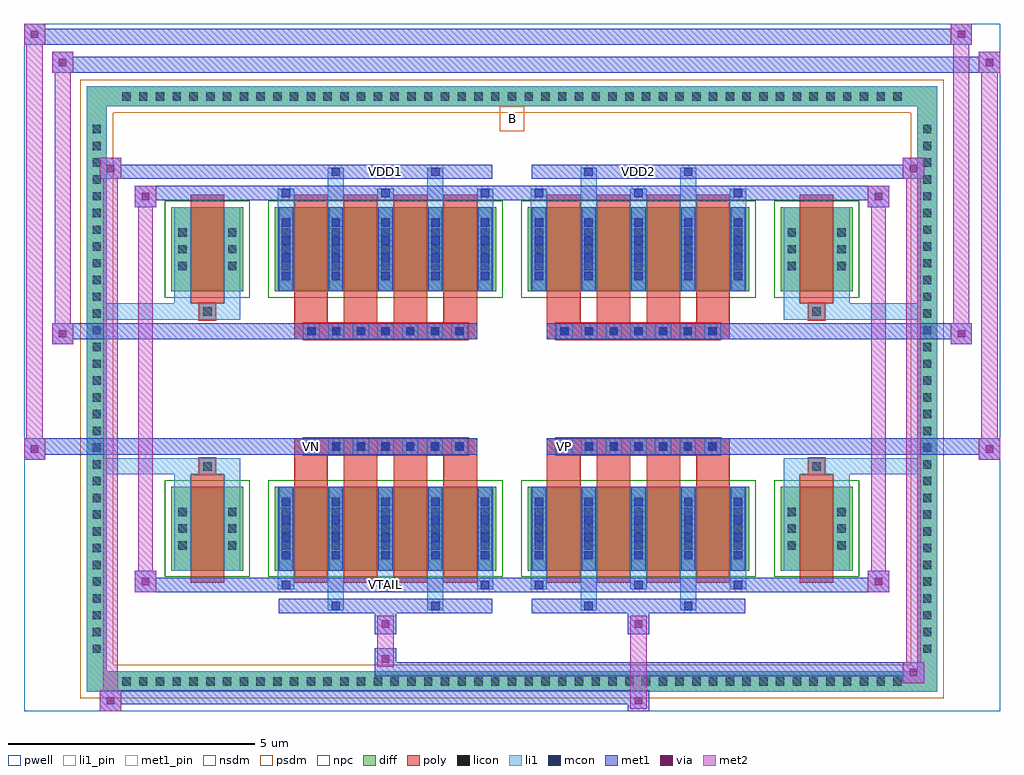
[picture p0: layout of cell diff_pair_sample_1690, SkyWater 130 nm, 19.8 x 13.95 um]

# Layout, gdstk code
import gdstk
lib = gdstk.Library(unit=1e-6, precision=5e-09)
def R(c, l, rs):  # rectangles x0, y0, x1, y1
    for r in rs: c.add(gdstk.rectangle(r[:2], r[2:], *l))
def A(c, l, x, y, w, h, nx, ny, dx, dy):  # array of equal rectangles
    R(c, l, [(x+i*dx, y+j*dy, x+i*dx+w, y+j*dy+h) for i in range(nx) for j in range(ny)])
def P(c, l, *ps):  # polygons
    for p in ps: c.add(gdstk.Polygon(p, *l))
pwell = (64, 44)
diff = (65, 20)
poly = (66, 20)
licon = (66, 44)
li1_pin = (67, 16)
li1 = (67, 20)
mcon = (67, 44)
met1_pin = (68, 16)
met1 = (68, 20)
via = (68, 44)
met2 = (69, 20)
nsdm = (93, 44)
psdm = (94, 20)
npc = (95, 20)

diff_pair_sample_1690 = lib.new_cell('diff_pair_sample_1690')
R(diff_pair_sample_1690, pwell, [(-9.9,-6.54,9.9,7.41), (-7.22,-4.73,-0.01,-0.805), (0.01,-4.73,7.22,-0.805), (-7.22,0.805,-0.01,4.73), (0.01,0.805,7.22,4.73)])
A(diff_pair_sample_1690, diff, -8.025, -6.14, 0.41, 0.41, 47, 2, 0.34, 11.87)
A(diff_pair_sample_1690, diff, -8.63, -5.475, 0.41, 0.41, 1, 32, 0, 0.34)
A(diff_pair_sample_1690, diff, 8.22, -5.475, 0.41, 0.41, 1, 32, 0, 0.34)
R(diff_pair_sample_1690, diff, [(-8.025,-6.14,8.025,-5.73), (-8.63,-5.475,-8.22,5.475), (8.22,-5.475,8.63,5.475), (-6.91,-3.685,-5.45,-1.985), (-4.81,-3.685,-0.32,-1.985), (0.32,-3.685,4.81,-1.985), (5.45,-3.685,6.91,-1.985), (-6.91,1.985,-5.45,3.685), (-4.81,1.985,-0.32,3.685), (0.32,1.985,4.81,3.685), (5.45,1.985,6.91,3.685), (-8.025,5.73,8.025,6.14)])
P(diff_pair_sample_1690, diff, [(8.63,6.14),(-8.63,6.14),(-8.63,-5.73),(-8.22,-5.73),(-8.22,5.73),(8.22,5.73),(8.22,-5.73),(-8.22,-5.73),(-8.63,-5.73),(-8.63,-6.14),(8.63,-6.14)])
A(diff_pair_sample_1690, poly, -4.42, -3.935, 0.68, 2.2, 4, 2, 1.01, 5.67)
A(diff_pair_sample_1690, poly, 0.71, -3.935, 0.68, 2.2, 4, 2, 1.01, 5.67)
A(diff_pair_sample_1690, poly, -4.42, -1.735, 0.68, 0.4, 4, 2, 1.01, 3.07)
A(diff_pair_sample_1690, poly, 0.71, -1.735, 0.68, 0.4, 4, 2, 1.01, 3.07)
A(diff_pair_sample_1690, poly, -4.23, -1.335, 0.33, 0.33, 7, 2, 0.5, 2.34)
A(diff_pair_sample_1690, poly, 0.9, -1.335, 0.33, 0.33, 7, 2, 0.5, 2.34)
R(diff_pair_sample_1690, poly, [(-6.52,-3.935,-5.84,-1.735), (5.84,-3.935,6.52,-1.735), (-6.345,-1.735,-6.015,-1.405), (-6.345,-1.735,-6.015,-1.405), (6.015,-1.735,6.345,-1.405), (6.015,-1.735,6.345,-1.405), (-4.42,-1.335,-0.71,-1.005), (0.71,-1.335,4.42,-1.005), (-4.42,1.005,-0.71,1.335), (0.71,1.005,4.42,1.335), (-6.345,1.405,-6.015,1.735), (-6.345,1.405,-6.015,1.735), (6.015,1.405,6.345,1.735), (6.015,1.405,6.345,1.735), (-6.52,1.735,-5.84,3.935), (5.84,1.735,6.52,3.935)])
A(diff_pair_sample_1690, licon, -7.905, -6.02, 0.17, 0.17, 47, 2, 0.34, 11.87)
A(diff_pair_sample_1690, licon, -8.51, -5.355, 0.17, 0.17, 1, 32, 0, 0.34)
A(diff_pair_sample_1690, licon, 8.34, -5.355, 0.17, 0.17, 1, 32, 0, 0.34)
A(diff_pair_sample_1690, licon, -6.77, -3.26, 0.17, 0.17, 1, 3, 0, 0.34)
A(diff_pair_sample_1690, licon, -5.76, -3.26, 0.17, 0.17, 1, 3, 0, 0.34)
A(diff_pair_sample_1690, licon, -4.67, -3.26, 0.17, 0.17, 5, 3, 1.01, 0.34)
A(diff_pair_sample_1690, licon, 0.46, -3.26, 0.17, 0.17, 5, 3, 1.01, 0.34)
A(diff_pair_sample_1690, licon, 5.59, -3.26, 0.17, 0.17, 1, 3, 0, 0.34)
A(diff_pair_sample_1690, licon, 6.6, -3.26, 0.17, 0.17, 1, 3, 0, 0.34)
A(diff_pair_sample_1690, licon, -4.15, -1.255, 0.17, 0.17, 7, 2, 0.5, 2.34)
A(diff_pair_sample_1690, licon, 0.98, -1.255, 0.17, 0.17, 7, 2, 0.5, 2.34)
A(diff_pair_sample_1690, licon, -6.77, 2.41, 0.17, 0.17, 1, 3, 0, 0.34)
A(diff_pair_sample_1690, licon, -5.76, 2.41, 0.17, 0.17, 1, 3, 0, 0.34)
A(diff_pair_sample_1690, licon, -4.67, 2.41, 0.17, 0.17, 5, 3, 1.01, 0.34)
A(diff_pair_sample_1690, licon, 0.46, 2.41, 0.17, 0.17, 5, 3, 1.01, 0.34)
A(diff_pair_sample_1690, licon, 5.59, 2.41, 0.17, 0.17, 1, 3, 0, 0.34)
A(diff_pair_sample_1690, licon, 6.6, 2.41, 0.17, 0.17, 1, 3, 0, 0.34)
R(diff_pair_sample_1690, licon, [(-6.265,-1.655,-6.095,-1.485), (6.095,-1.655,6.265,-1.485), (-6.265,1.485,-6.095,1.655), (6.095,1.485,6.265,1.655)])
R(diff_pair_sample_1690, li1_pin, [(-0.25,5.23,0.25,5.73)])
A(diff_pair_sample_1690, li1, -7.985, -6.1, 0.33, 0.33, 47, 2, 0.34, 11.87)
A(diff_pair_sample_1690, li1, -8.59, -5.435, 0.33, 0.33, 1, 32, 0, 0.34)
A(diff_pair_sample_1690, li1, 8.26, -5.435, 0.33, 0.33, 1, 32, 0, 0.34)
A(diff_pair_sample_1690, li1, -4.75, -4.06, 0.33, 0.375, 3, 2, 2.02, 7.745)
A(diff_pair_sample_1690, li1, -4.67, -4.06, 0.17, 0.17, 3, 2, 2.02, 7.95)
A(diff_pair_sample_1690, li1, 0.38, -4.06, 0.33, 0.375, 3, 2, 2.02, 7.745)
A(diff_pair_sample_1690, li1, 0.46, -4.06, 0.17, 0.17, 3, 2, 2.02, 7.95)
A(diff_pair_sample_1690, li1, -4.75, -3.685, 0.33, 1.7, 5, 2, 1.01, 5.67)
A(diff_pair_sample_1690, li1, 0.38, -3.685, 0.33, 1.7, 5, 2, 1.01, 5.67)
A(diff_pair_sample_1690, li1, -4.67, -3.46, 0.17, 0.17, 5, 4, 1.01, 0.36)
A(diff_pair_sample_1690, li1, -4.67, -3.46, 0.17, 1.25, 5, 2, 1.01, 5.67)
A(diff_pair_sample_1690, li1, 0.46, -3.46, 0.17, 0.17, 5, 4, 1.01, 0.36)
A(diff_pair_sample_1690, li1, 0.46, -3.46, 0.17, 1.25, 5, 2, 1.01, 5.67)
A(diff_pair_sample_1690, li1, -6.85, -3.34, 0.33, 0.33, 1, 3, 0, 0.34)
A(diff_pair_sample_1690, li1, -5.84, -3.34, 0.33, 0.33, 1, 3, 0, 0.34)
A(diff_pair_sample_1690, li1, -4.75, -3.34, 0.33, 0.33, 5, 3, 1.01, 0.34)
A(diff_pair_sample_1690, li1, 0.38, -3.34, 0.33, 0.33, 5, 3, 1.01, 0.34)
A(diff_pair_sample_1690, li1, 5.51, -3.34, 0.33, 0.33, 1, 3, 0, 0.34)
A(diff_pair_sample_1690, li1, 6.52, -3.34, 0.33, 0.33, 1, 3, 0, 0.34)
A(diff_pair_sample_1690, li1, -4.23, -1.335, 0.33, 0.33, 7, 2, 0.5, 2.34)
A(diff_pair_sample_1690, li1, 0.9, -1.335, 0.33, 0.33, 7, 2, 0.5, 2.34)
A(diff_pair_sample_1690, li1, -4.67, 2.21, 0.17, 0.17, 5, 4, 1.01, 0.36)
A(diff_pair_sample_1690, li1, 0.46, 2.21, 0.17, 0.17, 5, 4, 1.01, 0.36)
A(diff_pair_sample_1690, li1, -6.85, 2.33, 0.33, 0.33, 1, 3, 0, 0.34)
A(diff_pair_sample_1690, li1, -5.84, 2.33, 0.33, 0.33, 1, 3, 0, 0.34)
A(diff_pair_sample_1690, li1, -4.75, 2.33, 0.33, 0.33, 5, 3, 1.01, 0.34)
A(diff_pair_sample_1690, li1, 0.38, 2.33, 0.33, 0.33, 5, 3, 1.01, 0.34)
A(diff_pair_sample_1690, li1, 5.51, 2.33, 0.33, 0.33, 1, 3, 0, 0.34)
A(diff_pair_sample_1690, li1, 6.52, 2.33, 0.33, 0.33, 1, 3, 0, 0.34)
R(diff_pair_sample_1690, li1, [(-8.63,-6.14,-8.22,-5.73), (-8.63,-6.14,-8.22,-5.73), (-8.22,-6.14,8.22,-5.73), (8.22,-6.14,8.63,-5.73), (8.22,-6.14,8.63,-5.73), (-8.63,-5.73,-8.22,5.73), (8.22,-5.73,8.63,5.73), (-3.74,-4.49,-3.41,-3.685), (-3.66,-4.49,-3.49,-4.32), (-1.72,-4.49,-1.39,-3.685), (-1.64,-4.49,-1.47,-4.32), (1.39,-4.49,1.72,-3.685), (1.47,-4.49,1.64,-4.32), (3.41,-4.49,3.74,-3.685), (3.49,-4.49,3.66,-4.32), (-6.85,-3.685,-6.52,-1.985), (-5.84,-3.685,-5.51,-1.985), (5.51,-3.685,5.84,-1.985), (6.52,-3.685,6.85,-1.985), (-6.85,-1.985,-6.52,-1.405), (-5.84,-1.985,-5.51,-1.405), (5.51,-1.985,5.84,-1.405), (6.52,-1.985,6.85,-1.405), (-8.63,-1.735,-6.345,-1.405), (-6.85,-1.735,-6.345,-1.405), (-6.345,-1.735,-6.015,-1.405), (-6.015,-1.735,-5.51,-1.405), (5.51,-1.735,6.015,-1.405), (6.015,-1.735,6.345,-1.405), (6.015,-1.735,8.63,-1.405), (6.345,-1.735,6.85,-1.405), (-8.63,1.405,-6.345,1.735), (-6.85,1.405,-6.345,1.735), (-6.85,1.405,-6.52,1.985), (-6.345,1.405,-6.015,1.735), (-6.015,1.405,-5.51,1.735), (-5.84,1.405,-5.51,1.985), (5.51,1.405,6.015,1.735), (5.51,1.405,5.84,1.985), (6.015,1.405,6.345,1.735), (6.015,1.405,8.63,1.735), (6.345,1.405,6.85,1.735), (6.52,1.405,6.85,1.985), (-6.85,1.985,-6.52,3.685), (-5.84,1.985,-5.51,3.685), (5.51,1.985,5.84,3.685), (6.52,1.985,6.85,3.685), (-3.74,3.685,-3.41,4.49), (-1.72,3.685,-1.39,4.49), (1.39,3.685,1.72,4.49), (3.41,3.685,3.74,4.49), (-3.66,4.32,-3.49,4.49), (-1.64,4.32,-1.47,4.49), (1.47,4.32,1.64,4.49), (3.49,4.32,3.66,4.49), (-8.63,5.73,-8.22,6.14), (-8.63,5.73,-8.22,6.14), (-8.22,5.73,8.22,6.14), (8.22,5.73,8.63,6.14), (8.22,5.73,8.63,6.14)])
A(diff_pair_sample_1690, mcon, -4.67, -4.06, 0.17, 0.17, 3, 2, 2.02, 7.95)
A(diff_pair_sample_1690, mcon, 0.46, -4.06, 0.17, 0.17, 3, 2, 2.02, 7.95)
A(diff_pair_sample_1690, mcon, -4.67, -3.46, 0.17, 0.17, 5, 4, 1.01, 0.36)
A(diff_pair_sample_1690, mcon, 0.46, -3.46, 0.17, 0.17, 5, 4, 1.01, 0.36)
A(diff_pair_sample_1690, mcon, -4.15, -1.255, 0.17, 0.17, 7, 2, 0.5, 2.34)
A(diff_pair_sample_1690, mcon, 0.98, -1.255, 0.17, 0.17, 7, 2, 0.5, 2.34)
A(diff_pair_sample_1690, mcon, -4.67, 2.21, 0.17, 0.17, 5, 4, 1.01, 0.36)
A(diff_pair_sample_1690, mcon, 0.46, 2.21, 0.17, 0.17, 5, 4, 1.01, 0.36)
R(diff_pair_sample_1690, mcon, [(-3.66,-4.49,-3.49,-4.32), (-1.64,-4.49,-1.47,-4.32), (1.47,-4.49,1.64,-4.32), (3.49,-4.49,3.66,-4.32), (-3.66,4.32,-3.49,4.49), (-1.64,4.32,-1.47,4.49), (1.47,4.32,1.64,4.49), (3.49,4.32,3.66,4.49)])
R(diff_pair_sample_1690, met1_pin, [(-2.7,-4.1,-2.43,-3.83), (-4.2,-1.295,-3.93,-1.025), (0.93,-1.295,1.2,-1.025), (-2.7,4.28,-2.43,4.55), (2.43,4.28,2.7,4.55)])
A(diff_pair_sample_1690, met1, -4.73, -4.12, 0.29, 0.29, 3, 2, 2.02, 7.95)
A(diff_pair_sample_1690, met1, 0.4, -4.12, 0.29, 0.29, 3, 2, 2.02, 7.95)
A(diff_pair_sample_1690, met1, -4.73, -3.685, 0.29, 1.7, 5, 2, 1.01, 5.67)
A(diff_pair_sample_1690, met1, 0.4, -3.685, 0.29, 1.7, 5, 2, 1.01, 5.67)
A(diff_pair_sample_1690, met1, -4.73, -3.52, 0.29, 0.29, 5, 4, 1.01, 0.36)
A(diff_pair_sample_1690, met1, 0.4, -3.52, 0.29, 0.29, 5, 4, 1.01, 0.36)
A(diff_pair_sample_1690, met1, -4.21, -1.315, 0.29, 0.29, 7, 2, 0.5, 2.34)
A(diff_pair_sample_1690, met1, 0.92, -1.315, 0.29, 0.29, 7, 2, 0.5, 2.34)
A(diff_pair_sample_1690, met1, -4.73, 2.15, 0.29, 0.29, 5, 4, 1.01, 0.36)
A(diff_pair_sample_1690, met1, 0.4, 2.15, 0.29, 0.29, 5, 4, 1.01, 0.36)
R(diff_pair_sample_1690, met1, [(-8.36,-6.54,-7.93,-6.11), (2.35,-6.54,2.78,-6.11), (-8.36,-6.4,2.78,-6.11), (7.93,-5.97,8.36,-5.54), (-2.78,-5.83,8.36,-5.54), (-2.78,-5.69,-2.35,-5.26), (-2.78,-4.98,-2.35,-4.55), (2.35,-4.98,2.78,-4.55), (-4.73,-4.55,-0.4,-4.26), (-3.72,-4.55,-3.43,-4.26), (-1.7,-4.55,-1.41,-4.26), (0.4,-4.55,4.73,-4.26), (1.41,-4.55,1.7,-4.26), (3.43,-4.55,3.72,-4.26), (-7.65,-4.12,-7.22,-3.69), (-7.65,-4.12,-4.73,-3.83), (-4.73,-4.12,-0.4,-3.83), (-0.4,-4.12,0.4,-3.83), (0.4,-4.12,4.73,-3.83), (4.73,-4.12,7.65,-3.83), (7.22,-4.12,7.65,-3.69), (-9.9,-1.435,-9.47,-1.005), (9.47,-1.435,9.9,-1.005), (-9.9,-1.335,-0.71,-1.005), (-4.42,-1.335,-0.71,-1.005), (0.71,-1.335,4.42,-1.005), (0.71,-1.335,9.9,-1.005), (-9.33,0.905,-8.9,1.335), (8.9,0.905,9.33,1.335), (-9.33,1.005,-4.42,1.335), (-4.42,1.005,-0.71,1.335), (0.71,1.005,4.42,1.335), (4.42,1.005,9.33,1.335), (-7.65,3.69,-7.22,4.12), (7.22,3.69,7.65,4.12), (-7.65,3.83,-4.73,4.12), (-4.73,3.83,-0.4,4.12), (-0.4,3.83,0.4,4.12), (0.4,3.83,4.73,4.12), (4.73,3.83,7.65,4.12), (-8.36,4.26,-7.93,4.69), (-8.36,4.26,-4.73,4.55), (-4.73,4.26,-0.4,4.55), (-3.72,4.26,-3.43,4.55), (-1.7,4.26,-1.41,4.55), (0.4,4.26,4.73,4.55), (1.41,4.26,1.7,4.55), (3.43,4.26,3.72,4.55), (4.73,4.26,8.36,4.55), (7.93,4.26,8.36,4.69), (-9.33,6.41,-8.9,6.84), (-9.33,6.41,-7.22,6.74), (-7.22,6.41,7.22,6.74), (7.22,6.41,9.9,6.74), (9.47,6.41,9.9,6.84), (-9.9,6.98,-9.47,7.41), (-9.9,6.98,-7.22,7.31), (-7.22,6.98,7.22,7.31), (7.22,6.98,9.33,7.31), (8.9,6.98,9.33,7.41)])
R(diff_pair_sample_1690, via, [(-8.22,-6.4,-8.07,-6.25), (2.49,-6.4,2.64,-6.25), (8.07,-5.83,8.22,-5.68), (-2.64,-5.55,-2.49,-5.4), (-2.64,-4.84,-2.49,-4.69), (2.49,-4.84,2.64,-4.69), (-7.51,-3.98,-7.36,-3.83), (7.36,-3.98,7.51,-3.83), (-9.76,-1.295,-9.61,-1.145), (9.61,-1.295,9.76,-1.145), (-9.19,1.045,-9.04,1.195), (9.04,1.045,9.19,1.195), (-7.51,3.83,-7.36,3.98), (7.36,3.83,7.51,3.98), (-8.22,4.4,-8.07,4.55), (8.07,4.4,8.22,4.55), (-9.19,6.55,-9.04,6.7), (9.61,6.55,9.76,6.7), (-9.76,7.12,-9.61,7.27), (9.04,7.12,9.19,7.27)])
R(diff_pair_sample_1690, met2, [(-8.36,-6.54,-7.93,-6.11), (-8.29,-6.54,-8,4.69), (-8,-6.54,-7.93,-6.11), (-8.31,-6.49,-7.98,-6.16), (2.4,-6.49,2.73,-6.16), (2.4,-6.16,2.73,-4.93), (7.93,-5.97,8.36,-5.54), (8,-5.97,8.29,4.69), (8.29,-5.97,8.36,-5.54), (7.98,-5.92,8.31,-5.59), (-2.73,-5.64,-2.4,-5.31), (-2.73,-5.31,-2.4,-4.93), (-2.73,-4.93,-2.4,-4.6), (2.4,-4.93,2.73,-4.6), (-7.65,-4.12,-7.22,-3.69), (-7.58,-4.12,-7.29,4.12), (-7.29,-4.12,-7.22,-3.69), (7.22,-4.12,7.65,-3.69), (7.29,-4.12,7.58,4.12), (7.58,-4.12,7.65,-3.69), (-7.6,-4.07,-7.27,-3.74), (7.27,-4.07,7.6,-3.74), (-9.9,-1.435,-9.47,-1.005), (-9.85,-1.435,-9.52,7.41), (-9.52,-1.435,-9.47,-1.005), (9.47,-1.435,9.9,-1.005), (9.52,-1.435,9.85,6.84), (9.85,-1.435,9.9,-1.005), (-9.85,-1.385,-9.52,-1.055), (9.52,-1.385,9.85,-1.055), (-9.33,0.905,-8.9,1.335), (-9.28,0.905,-8.95,6.84), (-8.95,0.905,-8.9,1.335), (8.9,0.905,9.33,1.335), (8.95,0.905,9.28,7.41), (9.28,0.905,9.33,1.335), (-9.28,0.955,-8.95,1.285), (8.95,0.955,9.28,1.285), (-7.65,3.69,-7.22,4.12), (-7.29,3.69,-7.22,4.12), (7.22,3.69,7.65,4.12), (7.58,3.69,7.65,4.12), (-7.6,3.74,-7.27,4.07), (7.27,3.74,7.6,4.07), (-8.36,4.26,-7.93,4.69), (-8,4.26,-7.93,4.69), (7.93,4.26,8.36,4.69), (8.29,4.26,8.36,4.69), (-8.31,4.31,-7.98,4.64), (7.98,4.31,8.31,4.64), (-9.33,6.41,-8.9,6.84), (-8.95,6.41,-8.9,6.84), (9.47,6.41,9.9,6.84), (9.85,6.41,9.9,6.84), (-9.28,6.46,-8.95,6.79), (9.52,6.46,9.85,6.79), (-9.9,6.98,-9.47,7.41), (-9.52,6.98,-9.47,7.41), (8.9,6.98,9.33,7.41), (9.28,6.98,9.33,7.41), (-9.85,7.03,-9.52,7.36), (8.95,7.03,9.28,7.36)])
R(diff_pair_sample_1690, nsdm, [(-7.04,-3.815,-5.32,-1.855), (-4.94,-3.815,-0.19,-1.855), (0.19,-3.815,4.94,-1.855), (5.32,-3.815,7.04,-1.855), (-7.04,1.855,-5.32,3.815), (-4.94,1.855,-0.19,3.815), (0.19,1.855,4.94,3.815), (5.32,1.855,7.04,3.815)])
P(diff_pair_sample_1690, psdm, [(8.76,6.27),(-8.76,6.27),(-8.76,-5.6),(-8.09,-5.6),(-8.09,5.6),(8.09,5.6),(8.09,-5.6),(-8.09,-5.6),(-8.76,-5.6),(-8.76,-6.27),(8.76,-6.27)])
A(diff_pair_sample_1690, npc, -4.25, -1.355, 0.37, 0.37, 7, 2, 0.5, 2.34)
A(diff_pair_sample_1690, npc, 0.88, -1.355, 0.37, 0.37, 7, 2, 0.5, 2.34)
R(diff_pair_sample_1690, npc, [(-6.365,-1.755,-5.995,-1.385), (5.995,-1.755,6.365,-1.385), (-4.25,-1.355,-3.38,-0.985), (-4.25,-1.355,-3.38,-0.985), (-3.75,-1.355,-2.88,-0.985), (-3.75,-1.355,-2.88,-0.985), (-3.25,-1.355,-2.38,-0.985), (-3.25,-1.355,-2.38,-0.985), (-2.75,-1.355,-1.88,-0.985), (-2.75,-1.355,-1.88,-0.985), (-2.25,-1.355,-1.38,-0.985), (-2.25,-1.355,-1.38,-0.985), (-1.75,-1.355,-0.88,-0.985), (-1.75,-1.355,-0.88,-0.985), (0.88,-1.355,1.75,-0.985), (0.88,-1.355,1.75,-0.985), (1.38,-1.355,2.25,-0.985), (1.38,-1.355,2.25,-0.985), (1.88,-1.355,2.75,-0.985), (1.88,-1.355,2.75,-0.985), (2.38,-1.355,3.25,-0.985), (2.38,-1.355,3.25,-0.985), (2.88,-1.355,3.75,-0.985), (2.88,-1.355,3.75,-0.985), (3.38,-1.355,4.25,-0.985), (3.38,-1.355,4.25,-0.985), (-4.25,0.985,-3.38,1.355), (-4.25,0.985,-3.38,1.355), (-3.75,0.985,-2.88,1.355), (-3.75,0.985,-2.88,1.355), (-3.25,0.985,-2.38,1.355), (-3.25,0.985,-2.38,1.355), (-2.75,0.985,-1.88,1.355), (-2.75,0.985,-1.88,1.355), (-2.25,0.985,-1.38,1.355), (-2.25,0.985,-1.38,1.355), (-1.75,0.985,-0.88,1.355), (-1.75,0.985,-0.88,1.355), (0.88,0.985,1.75,1.355), (0.88,0.985,1.75,1.355), (1.38,0.985,2.25,1.355), (1.38,0.985,2.25,1.355), (1.88,0.985,2.75,1.355), (1.88,0.985,2.75,1.355), (2.38,0.985,3.25,1.355), (2.38,0.985,3.25,1.355), (2.88,0.985,3.75,1.355), (2.88,0.985,3.75,1.355), (3.38,0.985,4.25,1.355), (3.38,0.985,4.25,1.355), (-6.365,1.385,-5.995,1.755), (5.995,1.385,6.365,1.755)])
diff_pair_sample_1690.add(gdstk.Label('VTAIL', (-2.565,-3.965), layer=68, texttype=5))
diff_pair_sample_1690.add(gdstk.Label('VN', (-4.065,-1.16), layer=68, texttype=5))
diff_pair_sample_1690.add(gdstk.Label('VP', (1.065,-1.16), layer=68, texttype=5))
diff_pair_sample_1690.add(gdstk.Label('B', (0,5.48), layer=67, texttype=5))
diff_pair_sample_1690.add(gdstk.Label('VDD2', (2.565,4.415), layer=68, texttype=5))
diff_pair_sample_1690.add(gdstk.Label('VDD1', (-2.565,4.415), layer=68, texttype=5))

lib.write_gds('diff_pair_sample_1690.gds')
